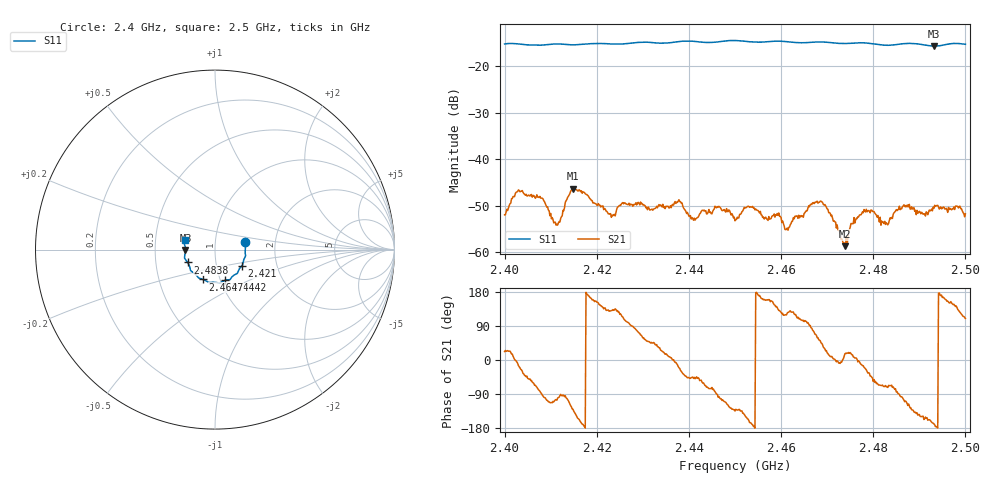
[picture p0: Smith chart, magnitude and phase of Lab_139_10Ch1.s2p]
# Hz S RI R 50
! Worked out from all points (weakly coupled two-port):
!   601 points, 2.4 GHz to 2.5 GHz, reference 50 ohm
!   highest |S21| = -46.30 dB at 2.4148 GHz (marker M1); lowest = -58.7 dB at 2.4738 GHz (marker M2)
!   lowest |S11| = -15.7 dB at 2.4932 GHz (marker M3), VSWR 1.39, Z = 35.8 - j0.121 ohm
!   |S11| at or under -10 dB: start of sweep to end of sweep
!   S12 and S22 are empty: the file has one direction only
!   S11 on the Smith chart (normalised r, x): 2.4 GHz: 1.40, +0.12; 2.421 GHz: 1.33, -0.24; 2.4442 GHz: 1.05, -0.37; 2.4647 GHz: 0.83, -0.28; 2.4838 GHz: 0.73, -0.11; 2.5 GHz: 0.71, +0.08
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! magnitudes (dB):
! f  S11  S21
! 2.4 GHz  -15.2  -51.9
! 2.4035 GHz  -15.3  -46.9
! 2.4082 GHz  -15.4  -48.3
! 2.4115 GHz  -15.2  -54.2
! 2.4148 GHz  -15.4  -46.3
! 2.4167 GHz  -15.3  -46.8
! 2.421 GHz  -15.1  -50.1
! 2.4333 GHz  -15.0  -50.0
! 2.4442 GHz  -14.9  -51.3
! 2.45 GHz  -14.5  -53.2
! 2.4533 GHz  -14.7  -50.2
! 2.4613 GHz  -14.7  -54.8
! 2.4647 GHz  -14.9  -52.2
! 2.4667 GHz  -14.8  -49.7
! 2.4693 GHz  -14.8  -49.8
! 2.4738 GHz  -15.1  -58.7
! 2.478 GHz  -15.0  -50.8
! 2.4833 GHz  -15.5  -53.7
! 2.4838 GHz  -15.5  -52.8
! 2.487 GHz  -15.1  -50.2
! 2.4932 GHz  -15.7  -50.5
! 2.5 GHz  -15.3  -51.7
